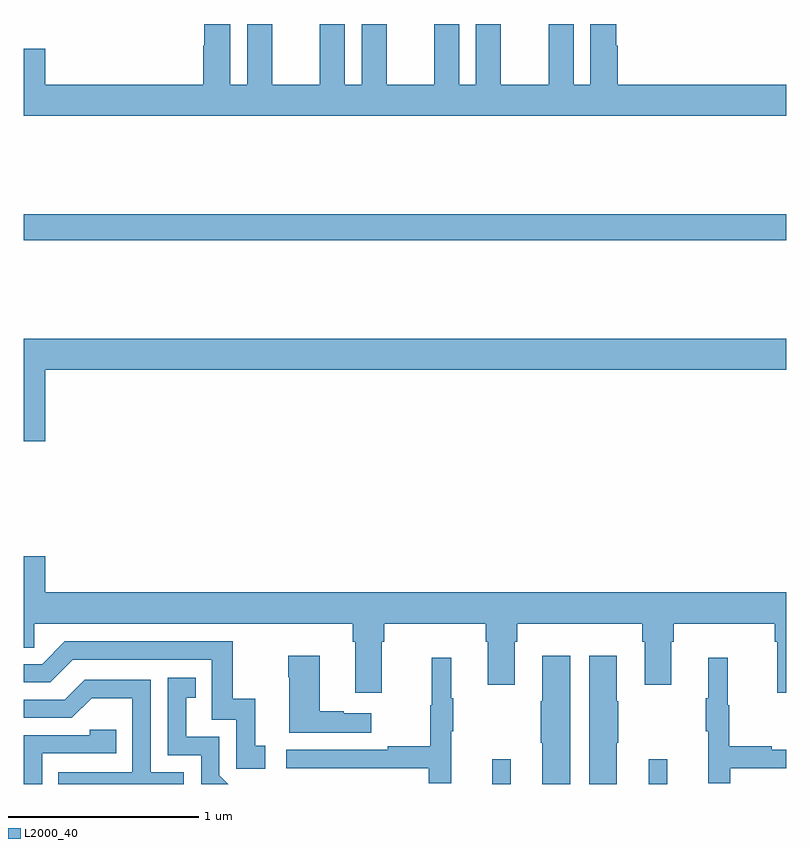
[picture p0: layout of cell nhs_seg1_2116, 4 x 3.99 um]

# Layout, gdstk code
import gdstk
lib = gdstk.Library(unit=1e-6, precision=1e-09)
def R(c, l, rs):  # rectangles x0, y0, x1, y1
    for r in rs: c.add(gdstk.rectangle(r[:2], r[2:], *l))
def P(c, l, *ps):  # polygons
    for p in ps: c.add(gdstk.Polygon(p, *l))
L2000_40 = (2000, 40)

nhs_seg1_2116 = lib.new_cell('nhs_seg1_2116')
R(nhs_seg1_2116, L2000_40, [(227.457,576.199,227.554,576.328), (228.278,576.199,228.375,576.328), (225,579.052,229,579.188)])
P(nhs_seg1_2116, L2000_40, [(229,579.868),(228.116,579.868),(228.116,580.073),(228.109,580.073),(228.109,580.186),(227.972,580.186),(227.972,579.868),(227.884,579.868),(227.884,580.186),(227.753,580.186),(227.753,579.868),(227.503,579.868),(227.503,580.186),(227.372,580.186),(227.372,579.868),(227.284,579.868),(227.284,580.186),(227.153,580.186),(227.153,579.868),(226.903,579.868),(226.903,580.186),(226.772,580.186),(226.772,579.868),(226.684,579.868),(226.684,580.186),(226.553,580.186),(226.553,579.868),(226.303,579.868),(226.303,580.186),(226.172,580.186),(226.172,579.868),(226.084,579.868),(226.084,580.186),(225.947,580.186),(225.947,580.073),(225.941,580.073),(225.941,579.868),(225.112,579.868),(225.112,580.057),(225,580.057),(225,579.704),(229,579.704)],
  [(225.112,578.372),(229,578.372),(229,578.536),(225,578.536),(225,577.998),(225.112,577.998)],
  [(226.879,576.944),(226.892,576.944),(226.892,577.04),(227.423,577.04),(227.423,576.944),(227.435,576.944),(227.435,576.72),(227.575,576.72),(227.575,576.944),(227.588,576.944),(227.588,577.04),(228.245,577.04),(228.245,576.944),(228.257,576.944),(228.257,576.72),(228.397,576.72),(228.397,576.944),(228.41,576.944),(228.41,577.04),(228.941,577.04),(228.941,576.944),(228.953,576.944),(228.953,576.678),(229,576.678),(229,577.204),(225.112,577.204),(225.112,577.393),(225,577.393),(225,576.913),(225.054,576.913),(225.054,577.04),(226.727,577.04),(226.727,576.944),(226.739,576.944),(226.739,576.678),(226.879,576.678)],
  [(226.267,576.399),(226.214,576.399),(226.214,576.646),(226.096,576.646),(226.096,576.948),(225.216,576.948),(225.096,576.828),(225,576.828),(225,576.732),(225.138,576.732),(225.258,576.852),(225.987,576.852),(225.987,576.537),(226.116,576.537),(226.116,576.279),(226.267,576.279)],
  [(227.866,576.871),(227.72,576.871),(227.72,576.632),(227.713,576.632),(227.713,576.415),(227.72,576.415),(227.72,576.199),(227.866,576.199)],
  [(228.112,576.415),(228.12,576.415),(228.12,576.632),(228.112,576.632),(228.112,576.871),(227.966,576.871),(227.966,576.199),(228.112,576.199)],
  [(226.822,576.571),(226.679,576.571),(226.679,576.581),(226.552,576.581),(226.552,576.871),(226.387,576.871),(226.387,576.758),(226.394,576.758),(226.394,576.467),(226.822,576.467)],
  [(227.243,576.475),(227.254,576.475),(227.254,576.649),(227.243,576.649),(227.243,576.862),(227.14,576.862),(227.14,576.612),(227.133,576.612),(227.133,576.398),(226.909,576.398),(226.909,576.378),(226.377,576.378),(226.377,576.282),(227.125,576.282),(227.125,576.204),(227.243,576.204)],
  [(228.707,576.282),(229,576.282),(229,576.378),(228.923,576.378),(228.923,576.398),(228.7,576.398),(228.7,576.612),(228.692,576.612),(228.692,576.862),(228.59,576.862),(228.59,576.649),(228.579,576.649),(228.579,576.475),(228.59,576.475),(228.59,576.204),(228.707,576.204)],
  [(226.026,576.246),(226.026,576.447),(225.853,576.447),(225.853,576.651),(225.902,576.651),(225.902,576.757),(225.756,576.757),(225.756,576.351),(225.93,576.351),(225.93,576.199),(226.073,576.199)],
  [(225.84,576.261),(225.666,576.261),(225.666,576.747),(225.32,576.747),(225.215,576.642),(225,576.642),(225,576.546),(225.252,576.546),(225.356,576.65),(225.57,576.65),(225.57,576.261),(225.181,576.261),(225.181,576.199),(225.84,576.199)],
  [(225.096,576.36),(225.485,576.36),(225.485,576.483),(225.345,576.483),(225.345,576.456),(225,576.456),(225,576.199),(225.096,576.199)])

lib.write_gds('nhs_seg1_2116.gds')
